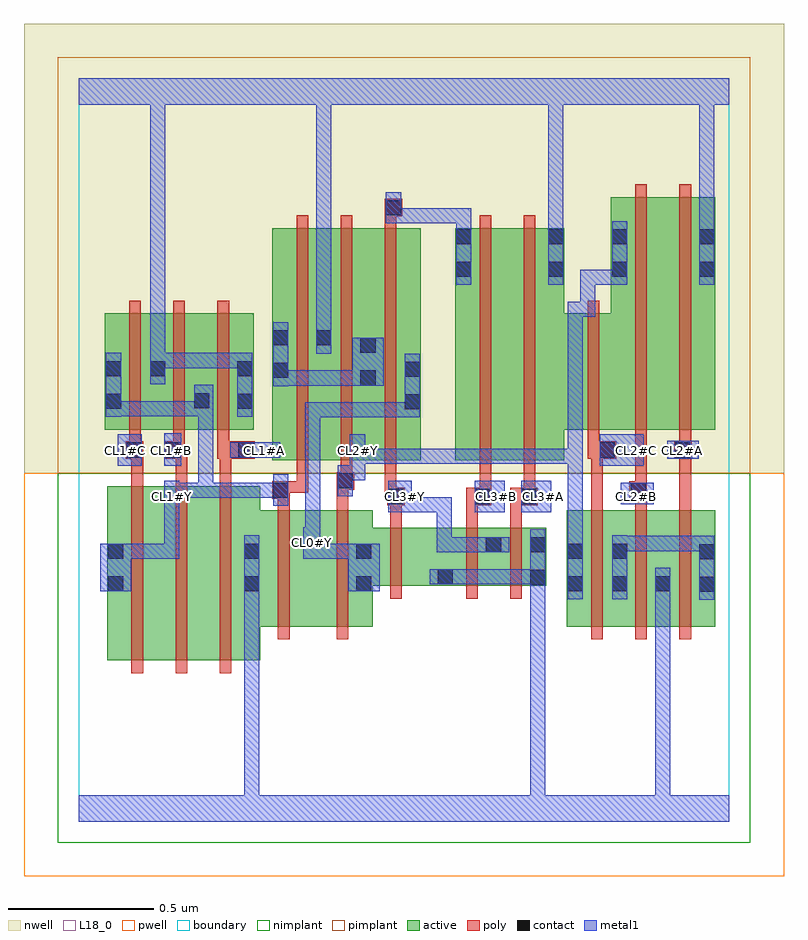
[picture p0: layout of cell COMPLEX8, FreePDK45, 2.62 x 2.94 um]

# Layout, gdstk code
import gdstk
lib = gdstk.Library(unit=1e-6, precision=1e-09)
def R(c, l, rs):  # rectangles x0, y0, x1, y1
    for r in rs: c.add(gdstk.rectangle(r[:2], r[2:], *l))
def A(c, l, x, y, w, h, nx, ny, dx, dy):  # array of equal rectangles
    R(c, l, [(x+i*dx, y+j*dy, x+i*dx+w, y+j*dy+h) for i in range(nx) for j in range(ny)])
active = (1, 0)
pwell = (2, 0)
nwell = (3, 0)
nimplant = (4, 0)
pimplant = (5, 0)
poly = (9, 0)
contact = (10, 0)
metal1 = (11, 0)
L18_0 = (18, 0)
boundary = (235, 0)

complex8 = lib.new_cell('COMPLEX8')
A(complex8, active, 0.814, 1.244, 0.06, 0.8, 3, 1, 0.152, 0)
A(complex8, active, 0.09, 1.35, 0.06, 0.4, 3, 1, 0.152, 0)
R(complex8, active, [(0.098,0.556,0.278,1.156), (0.098,0.556,0.158,1.156), (0.278,0.556,0.43,1.156), (0.43,0.556,0.626,1.156), (0.566,0.556,0.626,0.962), (0.566,0.672,0.83,1.072), (0.83,0.672,1.012,1.072), (0.952,0.672,1.012,0.962), (1.68,0.672,1.74,1.072), (1.68,0.672,1.892,1.072), (1.832,0.672,2.04,1.072), (1.832,0.672,1.892,0.962), (1.98,0.672,2.192,1.072), (1.98,0.672,2.04,0.85), (2.132,0.672,2.192,1.072), (0.952,0.812,1.292,1.012), (1.232,0.812,1.292,1.012), (1.232,0.812,1.458,1.012), (1.398,0.812,1.458,1.012), (1.398,0.812,1.61,1.012), (1.55,0.812,1.61,1.012), (0.666,1.244,0.726,2.044), (0.666,1.244,0.874,2.044), (0.814,1.244,1.026,2.044), (0.966,1.244,1.178,2.044), (1.296,1.244,1.476,2.044), (1.296,1.244,1.356,2.044), (1.476,1.244,1.672,2.044), (0.09,1.35,0.302,1.75), (0.242,1.35,0.454,1.75), (0.394,1.35,0.602,1.75), (0.542,1.35,0.602,1.75), (1.612,1.35,1.672,2.044), (1.612,1.35,1.892,1.75), (1.832,1.35,2.012,2.15), (2.012,1.35,2.192,2.15), (2.132,1.35,2.192,2.044), (1.832,1.572,1.892,2.044)])
R(complex8, pwell, [(-0.188,-0.188,2.428,1.2)])
R(complex8, nwell, [(-0.188,1.2,2.428,2.748)])
R(complex8, nimplant, [(-0.072,-0.072,2.312,1.2)])
R(complex8, pimplant, [(-0.072,1.2,2.312,2.632)])
A(complex8, poly, 0.182, 0.512, 0.04, 0.688, 3, 1, 0.152, 0)
A(complex8, poly, 1.764, 0.628, 0.04, 0.488, 3, 1, 0.152, 0)
A(complex8, poly, 0.182, 1.16, 0.04, 0.13, 3, 1, 0.152, 0)
A(complex8, poly, 0.75, 1.2, 0.04, 0.888, 3, 1, 0.152, 0)
A(complex8, poly, 0.174, 1.27, 0.04, 0.076, 3, 1, 0.152, 0)
A(complex8, poly, 0.174, 1.306, 0.04, 0.488, 3, 1, 0.152, 0)
R(complex8, poly, [(0.686,0.628,0.726,1.116), (0.888,0.628,0.928,1.116), (1.072,0.768,1.112,1.056), (1.334,0.768,1.374,1.056), (1.486,0.768,1.526,1.056), (1.072,1.016,1.112,1.13), (1.334,1.016,1.374,1.13), (1.486,1.016,1.526,1.13), (0.686,1.076,0.726,1.152), (0.888,1.076,0.928,1.184), (1.764,1.076,1.804,1.29), (1.916,1.076,1.956,1.152), (2.068,1.076,2.108,1.29), (1.062,1.09,1.122,1.15), (1.334,1.09,1.42,1.15), (1.486,1.09,1.58,1.15), (1.054,1.11,1.094,1.24), (1.054,1.11,1.102,1.15), (1.062,1.11,1.102,1.15), (1.38,1.11,1.42,1.15), (1.38,1.11,1.42,1.15), (1.38,1.11,1.42,1.24), (1.532,1.11,1.572,1.15), (1.532,1.11,1.572,1.15), (1.532,1.11,1.572,1.24), (0.666,1.112,0.726,1.172), (1.896,1.112,1.956,1.172), (0.686,1.132,0.726,1.172), (0.686,1.132,0.79,1.172), (0.75,1.132,0.79,1.24), (1.916,1.132,1.956,1.172), (1.916,1.132,1.956,1.172), (1.916,1.132,1.956,1.346), (0.888,1.144,0.928,1.184), (0.888,1.144,0.928,1.184), (0.888,1.144,0.948,1.204), (0.902,1.164,0.942,1.24), (1.38,1.2,1.42,2.088), (1.532,1.2,1.572,2.088), (0.162,1.25,0.222,1.31), (0.298,1.25,0.366,1.31), (0.326,1.25,0.366,1.29), (0.326,1.25,0.374,1.29), (0.478,1.25,0.606,1.31), (0.486,1.25,0.526,1.29), (0.486,1.25,0.526,1.29), (1.752,1.25,1.85,1.31), (1.764,1.25,1.804,1.29), (1.764,1.25,1.804,1.29), (2.05,1.25,2.11,1.31), (2.068,1.25,2.108,1.29), (2.068,1.25,2.108,1.29), (0.174,1.27,0.214,1.31), (0.174,1.27,0.214,1.31), (1.752,1.27,1.792,1.346), (2.068,1.27,2.108,1.346), (1.752,1.306,1.792,1.794), (1.916,1.306,1.956,2.194), (2.068,1.306,2.108,2.194), (1.054,2.048,1.094,2.124), (1.054,2.084,1.114,2.144)])
R(complex8, contact, [(2.136,0.792,2.188,0.844), (0.102,0.794,0.154,0.846), (0.57,0.794,0.622,0.846), (0.956,0.794,1.008,0.846), (1.684,0.794,1.736,0.846), (1.836,0.794,1.888,0.846), (1.984,0.794,2.036,0.846), (1.554,0.816,1.606,0.868), (1.236,0.818,1.288,0.87), (2.136,0.904,2.188,0.956), (0.102,0.906,0.154,0.958), (0.57,0.906,0.622,0.958), (0.956,0.906,1.008,0.958), (1.684,0.906,1.736,0.958), (1.836,0.906,1.888,0.958), (1.402,0.928,1.454,0.98), (1.554,0.928,1.606,0.98), (1.066,1.094,1.118,1.146), (1.364,1.094,1.416,1.146), (1.524,1.094,1.576,1.146), (0.67,1.116,0.722,1.168), (1.9,1.116,1.952,1.168), (0.892,1.148,0.944,1.2), (0.166,1.254,0.218,1.306), (0.302,1.254,0.354,1.306), (0.55,1.254,0.602,1.306), (1.794,1.254,1.846,1.306), (2.054,1.254,2.106,1.306), (1.122,1.42,1.174,1.472), (0.094,1.422,0.146,1.474), (0.546,1.422,0.598,1.474), (0.398,1.424,0.45,1.476), (0.97,1.502,1.022,1.554), (0.67,1.528,0.722,1.58), (1.122,1.532,1.174,1.584), (0.094,1.534,0.146,1.586), (0.246,1.534,0.298,1.586), (0.546,1.534,0.598,1.586), (0.97,1.614,1.022,1.666), (0.67,1.64,0.722,1.692), (0.818,1.64,0.87,1.692), (1.3,1.876,1.352,1.928), (1.616,1.876,1.668,1.928), (1.836,1.876,1.888,1.928), (2.136,1.876,2.188,1.928), (1.3,1.988,1.352,2.04), (1.616,1.988,1.668,2.04), (1.836,1.988,1.888,2.04), (2.136,1.988,2.188,2.04), (1.058,2.088,1.11,2.14)])
R(complex8, metal1, [(0,0,2.24,0.092), (0.57,0.04,0.622,0.818), (1.554,0.04,1.606,0.092), (1.554,0.04,1.606,0.092), (1.554,0.04,1.606,0.092), (1.554,0.04,1.606,0.092), (1.554,0.04,1.606,0.092), (1.554,0.04,1.606,0.092), (1.554,0.04,1.606,0.092), (1.554,0.04,1.606,0.092), (1.554,0.04,1.606,0.092), (1.554,0.04,1.606,0.092), (1.554,0.04,1.606,0.092), (1.554,0.04,1.606,0.092), (1.554,0.04,1.606,0.84), (1.984,0.04,2.036,0.092), (1.984,0.04,2.036,0.092), (1.984,0.04,2.036,0.092), (1.984,0.04,2.036,0.092), (1.984,0.04,2.036,0.092), (1.984,0.04,2.036,0.092), (1.984,0.04,2.036,0.092), (1.984,0.04,2.036,0.092), (1.984,0.04,2.036,0.818), (2.136,0.764,2.188,0.984), (0.57,0.766,0.622,0.818), (0.57,0.766,0.622,0.818), (0.57,0.766,0.622,0.818), (0.57,0.766,0.622,0.818), (0.57,0.766,0.622,0.818), (0.57,0.766,0.622,0.818), (0.57,0.766,0.622,0.818), (0.57,0.766,0.622,0.818), (0.57,0.766,0.622,0.986), (1.684,0.766,1.736,0.986), (1.836,0.766,1.888,0.986), (1.984,0.766,2.036,0.818), (1.984,0.766,2.036,0.818), (1.984,0.766,2.036,0.818), (1.984,0.766,2.036,0.818), (1.984,0.766,2.036,0.874), (1.554,0.788,1.606,0.84), (1.554,0.788,1.606,0.84), (1.554,0.788,1.606,0.84), (1.554,0.788,1.606,0.84), (1.554,0.788,1.606,1.008), (0.074,0.794,0.182,0.958), (0.928,0.794,1.036,0.958), (1.208,0.818,1.316,0.87), (1.264,0.818,1.316,0.87), (1.264,0.818,1.316,0.87), (1.264,0.818,1.496,0.87), (1.444,0.818,1.496,0.87), (1.444,0.818,1.496,0.87), (1.444,0.818,1.496,0.87), (1.444,0.818,1.606,0.87), (0.13,0.906,0.182,0.958), (0.13,0.906,0.182,0.958), (0.13,0.906,0.346,0.958), (0.294,0.906,0.346,0.958), (0.294,0.906,0.346,1.118), (0.774,0.906,0.832,1.014), (0.78,0.906,0.98,0.958), (0.928,0.906,0.98,0.958), (0.928,0.906,0.98,0.958), (0.928,0.906,0.98,0.958), (0.928,0.906,0.98,0.958), (1.232,0.928,1.284,0.98), (1.232,0.928,1.284,0.98), (1.232,0.928,1.284,0.98), (1.232,0.928,1.426,0.98), (1.232,0.928,1.284,1.118), (1.374,0.928,1.482,0.98), (1.836,0.932,1.888,0.984), (1.836,0.932,1.888,0.984), (1.836,0.932,2.078,0.984), (2.026,0.932,2.078,0.984), (2.026,0.932,2.078,0.984), (2.026,0.932,2.078,0.984), (2.026,0.932,2.188,0.984), (1.684,0.934,1.736,1.284), (0.78,0.962,0.832,1.014), (0.78,0.962,0.832,1.014), (0.78,0.962,0.832,1.444), (0.294,1.066,0.346,1.174), (1.066,1.066,1.146,1.174), (1.094,1.066,1.146,1.118), (1.094,1.066,1.146,1.118), (1.094,1.066,1.284,1.118), (1.232,1.066,1.284,1.118), (1.364,1.066,1.466,1.174), (1.524,1.066,1.626,1.174), (0.67,1.088,0.722,1.196), (1.866,1.094,1.98,1.168), (0.294,1.116,0.464,1.168), (0.412,1.116,0.464,1.168), (0.412,1.116,0.464,1.168), (0.412,1.116,0.464,1.168), (0.412,1.116,0.574,1.168), (0.412,1.116,0.464,1.448), (0.522,1.116,0.574,1.168), (0.522,1.116,0.574,1.168), (0.522,1.116,0.574,1.168), (0.522,1.116,0.716,1.168), (0.664,1.116,0.716,1.168), (0.664,1.116,0.722,1.168), (0.892,1.12,0.944,1.228), (0.892,1.176,0.986,1.228), (0.934,1.176,0.986,1.334), (0.134,1.226,0.218,1.334), (0.294,1.226,0.354,1.338), (1.794,1.226,1.946,1.334), (0.934,1.232,1.144,1.284), (1.092,1.232,1.144,1.284), (1.092,1.232,1.144,1.284), (1.092,1.232,1.144,1.284), (1.092,1.232,1.256,1.284), (1.204,1.232,1.256,1.284), (1.204,1.232,1.256,1.284), (1.204,1.232,1.256,1.284), (1.204,1.232,1.426,1.284), (1.374,1.232,1.426,1.284), (1.374,1.232,1.426,1.284), (1.374,1.232,1.426,1.284), (1.374,1.232,1.614,1.284), (1.562,1.232,1.614,1.284), (1.562,1.232,1.736,1.284), (1.684,1.232,1.736,1.284), (1.684,1.232,1.736,1.284), (1.684,1.232,1.736,1.284), (1.684,1.232,1.736,1.79), (2.026,1.25,2.134,1.312), (0.522,1.254,0.694,1.306), (0.78,1.392,0.832,1.444), (0.78,1.392,0.832,1.444), (0.78,1.392,0.832,1.444), (0.78,1.392,1,1.444), (0.948,1.392,1,1.444), (0.948,1.392,1.146,1.444), (1.094,1.392,1.146,1.444), (1.094,1.392,1.174,1.444), (1.122,1.392,1.174,1.612), (0.094,1.394,0.146,1.614), (0.546,1.394,0.598,1.614), (0.094,1.396,0.146,1.448), (0.094,1.396,0.146,1.448), (0.094,1.396,0.34,1.448), (0.288,1.396,0.34,1.448), (0.288,1.396,0.45,1.448), (0.398,1.396,0.45,1.448), (0.398,1.396,0.45,1.448), (0.398,1.396,0.464,1.504), (0.412,1.396,0.464,1.448), (0.412,1.396,0.464,1.448), (0.67,1.5,0.722,1.72), (0.67,1.502,0.722,1.554), (0.67,1.502,0.722,1.554), (0.67,1.502,0.832,1.554), (0.78,1.502,0.832,1.554), (0.78,1.502,0.994,1.554), (0.942,1.502,0.994,1.554), (0.942,1.502,0.994,1.554), (0.942,1.502,1.05,1.666), (0.246,1.506,0.298,1.614), (0.246,1.562,0.298,1.614), (0.246,1.562,0.298,1.614), (0.246,1.562,0.464,1.614), (0.246,1.562,0.298,2.52), (0.412,1.562,0.464,1.614), (0.412,1.562,0.464,1.614), (0.412,1.562,0.464,1.614), (0.412,1.562,0.598,1.614), (0.546,1.562,0.598,1.614), (0.546,1.562,0.598,1.614), (0.818,1.612,0.87,1.72), (0.818,1.668,0.87,1.72), (0.818,1.668,0.87,1.72), (0.818,1.668,0.87,1.72), (0.818,1.668,0.87,1.72), (0.818,1.668,0.87,1.72), (0.818,1.668,0.87,1.72), (0.818,1.668,0.87,1.72), (0.818,1.668,0.87,1.72), (0.818,1.668,0.87,2.52), (1.684,1.738,1.736,1.79), (1.684,1.738,1.778,1.79), (1.726,1.738,1.778,1.9), (1.3,1.848,1.352,2.068), (1.616,1.848,1.668,2.068), (1.726,1.848,1.888,1.9), (1.836,1.848,1.888,2.068), (2.136,1.848,2.188,2.068), (1.3,2.016,1.352,2.112), (1.616,2.016,1.668,2.068), (1.616,2.016,1.668,2.068), (1.616,2.016,1.668,2.068), (1.616,2.016,1.668,2.068), (1.616,2.016,1.668,2.52), (2.136,2.016,2.188,2.068), (2.136,2.016,2.188,2.068), (2.136,2.016,2.188,2.068), (2.136,2.016,2.188,2.068), (2.136,2.016,2.188,2.068), (2.136,2.016,2.188,2.068), (2.136,2.016,2.188,2.068), (2.136,2.016,2.188,2.068), (2.136,2.016,2.188,2.52), (1.058,2.06,1.11,2.112), (1.058,2.06,1.11,2.112), (1.058,2.06,1.11,2.168), (1.058,2.06,1.352,2.112), (1.3,2.06,1.352,2.112), (0,2.468,2.24,2.56), (0.246,2.468,0.298,2.52), (0.246,2.468,0.298,2.52), (0.246,2.468,0.298,2.52), (0.246,2.468,0.298,2.52), (0.246,2.468,0.298,2.52), (0.246,2.468,0.298,2.52), (0.246,2.468,0.298,2.52), (0.246,2.468,0.298,2.52), (0.246,2.468,0.298,2.52), (0.246,2.468,0.298,2.52), (0.246,2.468,0.298,2.52), (0.246,2.468,0.298,2.52), (0.246,2.468,0.298,2.52), (0.246,2.468,0.298,2.52), (1.616,2.468,1.668,2.52), (1.616,2.468,1.668,2.52), (1.616,2.468,1.668,2.52), (1.616,2.468,1.668,2.52)])
A(complex8, L18_0, 0.294, 1.254, 0.052, 0.052, 3, 1, 0.32, 0)
R(complex8, L18_0, [(0,0,2.24,0.092), (0.57,0.04,0.622,0.818), (1.554,0.04,1.606,0.092), (1.554,0.04,1.606,0.092), (1.554,0.04,1.606,0.092), (1.554,0.04,1.606,0.092), (1.554,0.04,1.606,0.092), (1.554,0.04,1.606,0.092), (1.554,0.04,1.606,0.092), (1.554,0.04,1.606,0.092), (1.554,0.04,1.606,0.092), (1.554,0.04,1.606,0.092), (1.554,0.04,1.606,0.092), (1.554,0.04,1.606,0.092), (1.554,0.04,1.606,0.84), (1.984,0.04,2.036,0.092), (1.984,0.04,2.036,0.092), (1.984,0.04,2.036,0.092), (1.984,0.04,2.036,0.092), (1.984,0.04,2.036,0.092), (1.984,0.04,2.036,0.092), (1.984,0.04,2.036,0.092), (1.984,0.04,2.036,0.092), (1.984,0.04,2.036,0.818), (0.57,0.766,0.622,0.986), (0.57,0.766,0.622,0.818), (0.57,0.766,0.622,0.818), (0.57,0.766,0.622,0.818), (0.57,0.766,0.622,0.818), (0.57,0.766,0.622,0.818), (0.57,0.766,0.622,0.818), (0.57,0.766,0.622,0.818), (0.57,0.766,0.622,0.818), (1.684,0.766,1.736,0.986), (1.984,0.766,2.036,0.818), (1.984,0.766,2.036,0.818), (1.984,0.766,2.036,0.818), (1.984,0.766,2.036,0.818), (1.984,0.766,2.036,0.874), (1.554,0.788,1.606,1.008), (1.554,0.788,1.606,0.84), (1.554,0.788,1.606,0.84), (1.554,0.788,1.606,0.84), (1.554,0.788,1.606,0.84), (0.074,0.794,0.182,0.958), (0.928,0.794,1.036,0.958), (1.208,0.818,1.316,0.87), (1.264,0.818,1.316,0.87), (1.264,0.818,1.316,0.87), (1.264,0.818,1.496,0.87), (1.444,0.818,1.496,0.87), (1.444,0.818,1.496,0.87), (1.444,0.818,1.496,0.87), (1.444,0.818,1.606,0.87), (0.13,0.906,0.182,0.958), (0.13,0.906,0.182,0.958), (0.13,0.906,0.346,0.958), (0.294,0.906,0.346,0.958), (0.294,0.906,0.346,1.118), (0.774,0.906,0.832,1.014), (0.78,0.906,0.98,0.958), (0.928,0.906,0.98,0.958), (0.928,0.906,0.98,0.958), (0.928,0.906,0.98,0.958), (0.928,0.906,0.98,0.958), (1.232,0.928,1.284,0.98), (1.232,0.928,1.284,0.98), (1.232,0.928,1.284,0.98), (1.232,0.928,1.426,0.98), (1.232,0.928,1.284,1.118), (1.374,0.928,1.482,0.98), (0.774,0.934,0.826,0.986), (1.684,0.934,1.736,1.284), (0.78,0.962,0.832,1.014), (0.78,0.962,0.832,1.014), (0.78,0.962,0.832,1.444), (0.294,1.066,0.346,1.174), (1.066,1.066,1.146,1.174), (1.094,1.066,1.146,1.118), (1.094,1.066,1.146,1.118), (1.094,1.066,1.284,1.118), (1.232,1.066,1.284,1.118), (1.364,1.066,1.466,1.174), (1.524,1.066,1.626,1.174), (0.67,1.088,0.722,1.196), (0.294,1.094,0.346,1.146), (1.094,1.094,1.146,1.146), (1.414,1.094,1.466,1.146), (1.574,1.094,1.626,1.146), (1.866,1.094,1.98,1.168), (1.894,1.094,1.946,1.146), (0.294,1.116,0.464,1.168), (0.412,1.116,0.464,1.168), (0.412,1.116,0.464,1.168), (0.412,1.116,0.464,1.168), (0.412,1.116,0.574,1.168), (0.412,1.116,0.464,1.448), (0.522,1.116,0.574,1.168), (0.522,1.116,0.574,1.168), (0.522,1.116,0.574,1.168), (0.522,1.116,0.716,1.168), (0.664,1.116,0.716,1.168), (0.664,1.116,0.722,1.168), (0.892,1.12,0.944,1.228), (0.892,1.176,0.986,1.228), (0.934,1.176,0.986,1.334), (0.134,1.226,0.218,1.334), (0.294,1.226,0.354,1.338), (1.794,1.226,1.946,1.334), (0.934,1.232,1.144,1.284), (1.092,1.232,1.144,1.284), (1.092,1.232,1.144,1.284), (1.092,1.232,1.144,1.284), (1.092,1.232,1.256,1.284), (1.204,1.232,1.256,1.284), (1.204,1.232,1.256,1.284), (1.204,1.232,1.256,1.284), (1.204,1.232,1.426,1.284), (1.374,1.232,1.426,1.284), (1.374,1.232,1.426,1.284), (1.374,1.232,1.426,1.284), (1.374,1.232,1.614,1.284), (1.562,1.232,1.614,1.284), (1.562,1.232,1.736,1.284), (1.684,1.232,1.736,1.284), (1.684,1.232,1.736,1.284), (1.684,1.232,1.736,1.284), (1.684,1.232,1.736,1.79), (2.026,1.25,2.134,1.312), (0.134,1.254,0.186,1.306), (0.522,1.254,0.694,1.306), (1.894,1.254,1.946,1.306), (2.054,1.254,2.106,1.306), (0.78,1.392,0.832,1.444), (0.78,1.392,0.832,1.444), (0.78,1.392,0.832,1.444), (0.78,1.392,1,1.444), (0.948,1.392,1,1.444), (0.948,1.392,1.146,1.444), (1.094,1.392,1.146,1.444), (1.094,1.392,1.174,1.444), (1.122,1.392,1.174,1.612), (0.094,1.394,0.146,1.614), (0.546,1.394,0.598,1.614), (0.094,1.396,0.146,1.448), (0.094,1.396,0.146,1.448), (0.094,1.396,0.34,1.448), (0.288,1.396,0.34,1.448), (0.288,1.396,0.45,1.448), (0.398,1.396,0.45,1.448), (0.398,1.396,0.45,1.448), (0.398,1.396,0.464,1.504), (0.412,1.396,0.464,1.448), (0.412,1.396,0.464,1.448), (0.246,1.506,0.298,1.614), (0.246,1.562,0.298,1.614), (0.246,1.562,0.298,1.614), (0.246,1.562,0.298,2.52), (0.246,1.562,0.464,1.614), (0.412,1.562,0.464,1.614), (0.412,1.562,0.464,1.614), (0.412,1.562,0.464,1.614), (0.412,1.562,0.598,1.614), (0.546,1.562,0.598,1.614), (0.546,1.562,0.598,1.614), (0.818,1.612,0.87,1.72), (0.818,1.668,0.87,1.72), (0.818,1.668,0.87,1.72), (0.818,1.668,0.87,1.72), (0.818,1.668,0.87,1.72), (0.818,1.668,0.87,1.72), (0.818,1.668,0.87,1.72), (0.818,1.668,0.87,1.72), (0.818,1.668,0.87,1.72), (0.818,1.668,0.87,2.52), (1.684,1.738,1.736,1.79), (1.684,1.738,1.778,1.79), (1.726,1.738,1.778,1.9), (1.3,1.848,1.352,2.068), (1.616,1.848,1.668,2.068), (1.726,1.848,1.888,1.9), (1.836,1.848,1.888,2.068), (2.136,1.848,2.188,2.068), (1.3,2.016,1.352,2.112), (1.616,2.016,1.668,2.068), (1.616,2.016,1.668,2.068), (1.616,2.016,1.668,2.068), (1.616,2.016,1.668,2.068), (1.616,2.016,1.668,2.52), (2.136,2.016,2.188,2.068), (2.136,2.016,2.188,2.068), (2.136,2.016,2.188,2.068), (2.136,2.016,2.188,2.068), (2.136,2.016,2.188,2.068), (2.136,2.016,2.188,2.068), (2.136,2.016,2.188,2.068), (2.136,2.016,2.188,2.068), (2.136,2.016,2.188,2.52), (1.058,2.06,1.11,2.112), (1.058,2.06,1.11,2.112), (1.058,2.06,1.11,2.168), (1.058,2.06,1.352,2.112), (1.3,2.06,1.352,2.112), (0,2.468,2.24,2.56), (0.246,2.468,0.298,2.52), (0.246,2.468,0.298,2.52), (0.246,2.468,0.298,2.52), (0.246,2.468,0.298,2.52), (0.246,2.468,0.298,2.52), (0.246,2.468,0.298,2.52), (0.246,2.468,0.298,2.52), (0.246,2.468,0.298,2.52), (0.246,2.468,0.298,2.52), (0.246,2.468,0.298,2.52), (0.246,2.468,0.298,2.52), (0.246,2.468,0.298,2.52), (0.246,2.468,0.298,2.52), (0.246,2.468,0.298,2.52), (1.616,2.468,1.668,2.52), (1.616,2.468,1.668,2.52), (1.616,2.468,1.668,2.52), (1.616,2.468,1.668,2.52)])
R(complex8, boundary, [(0,0,2.24,2.56)])
complex8.add(gdstk.Label('CL0#Y', (0.8,0.96), layer=11, texttype=0))
complex8.add(gdstk.Label('CL1#A', (0.64,1.28), layer=11, texttype=0))
complex8.add(gdstk.Label('CL1#B', (0.32,1.28), layer=11, texttype=0))
complex8.add(gdstk.Label('CL1#C', (0.16,1.28), layer=11, texttype=0))
complex8.add(gdstk.Label('CL1#Y', (0.32,1.12), layer=11, texttype=0))
complex8.add(gdstk.Label('CL2#A', (2.08,1.28), layer=11, texttype=0))
complex8.add(gdstk.Label('CL2#B', (1.92,1.12), layer=11, texttype=0))
complex8.add(gdstk.Label('CL2#C', (1.92,1.28), layer=11, texttype=0))
complex8.add(gdstk.Label('CL2#Y', (0.96,1.28), layer=11, texttype=0))
complex8.add(gdstk.Label('CL3#A', (1.6,1.12), layer=11, texttype=0))
complex8.add(gdstk.Label('CL3#B', (1.44,1.12), layer=11, texttype=0))
complex8.add(gdstk.Label('CL3#Y', (1.12,1.12), layer=11, texttype=0))

lib.write_gds('COMPLEX8.gds')
